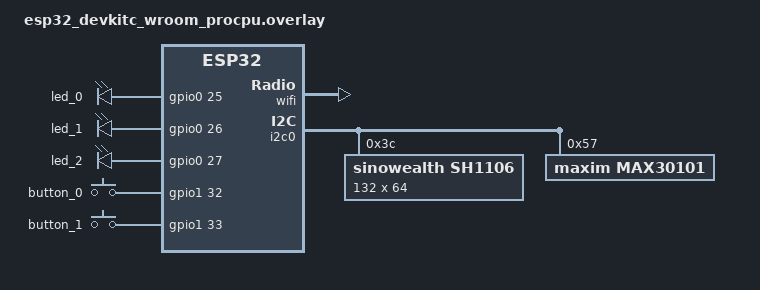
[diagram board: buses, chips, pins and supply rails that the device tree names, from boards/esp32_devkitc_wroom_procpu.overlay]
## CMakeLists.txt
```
cmake_minimum_required(VERSION 3.20.0)
find_package(Zephyr REQUIRED HINTS $ENV{ZEPHYR_BASE})

project(wifi_mesh_sensor_mqtt)

target_sources(app PRIVATE
    src/main.c
    src/zephyr_mesh.c
    src/mqtt_publisher.c
)
```

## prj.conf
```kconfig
# ESP32 Zephyr Mesh with MAX30102 Sensor and MQTT Configuration

# Wi-Fi Configuration
CONFIG_WIFI=y

# Network Configuration
CONFIG_NET_CONFIG_AUTO_INIT=n
CONFIG_NET_CONNECTION_MANAGER=y
CONFIG_NET_IF_MAX_IPV4_COUNT=2
CONFIG_NET_IF_MAX_IPV6_COUNT=2
CONFIG_NET_IPV4=y
CONFIG_NET_L2_ETHERNET=y
CONFIG_NET_L2_WIFI_MGMT=y
CONFIG_NET_MGMT=y
CONFIG_NET_MGMT_EVENT=y
CONFIG_NET_MGMT_EVENT_INFO=y
CONFIG_NET_MGMT_EVENT_QUEUE_SIZE=20
CONFIG_NET_MGMT_EVENT_STACK_SIZE=4096
CONFIG_NET_PKT_RX_COUNT=32
CONFIG_NET_PKT_TX_COUNT=32
CONFIG_NET_BUF_RX_COUNT=100
CONFIG_NET_BUF_TX_COUNT=100
CONFIG_NET_SOCKETS_SERVICE_STACK_SIZE=4096
CONFIG_NET_TCP=y
CONFIG_NET_UDP=y
CONFIG_NETWORKING=y
CONFIG_NET_SOCKETS=y
CONFIG_NET_SOCKETS_POLL_MAX=12
CONFIG_POSIX_API=y

# Memory (increased for MQTT and sensor processing)
CONFIG_KERNEL_MEM_POOL=y
CONFIG_MAIN_STACK_SIZE=11264
CONFIG_SYSTEM_WORKQUEUE_STACK_SIZE=8192

# DHCP
CONFIG_NET_DHCPV4=y
CONFIG_NET_DHCPV4_SERVER=y
CONFIG_NET_DHCPV4_SERVER_ADDR_LEASE_TIME=7200
CONFIG_NET_DHCPV4_SERVER_ADDR_COUNT=20

# MQTT Configuration (non-TLS for local broker)
CONFIG_MQTT_LIB=y
CONFIG_MQTT_KEEPALIVE=60

# LOG Configuration
CONFIG_LOG=y
CONFIG_NET_LOG=y

# GPIO and I2C
CONFIG_GPIO=y
CONFIG_I2C=y

# Display - SH1106 OLED
CONFIG_DISPLAY=y
CONFIG_SSD1306=y
CONFIG_SSD1306_DEFAULT_CONTRAST=128
CONFIG_CHARACTER_FRAMEBUFFER=y
CONFIG_CHARACTER_FRAMEBUFFER_USE_DEFAULT_FONTS=y

# MAX30102 Sensor Configuration
CONFIG_SENSOR=y
CONFIG_MAX30101=y
CONFIG_MAX30101_SPO2_MODE=y
CONFIG_MAX30101_LED1_PA=0x5a
CONFIG_MAX30101_LED2_PA=0x50
CONFIG_MAX30101_SMP_AVE=0
CONFIG_MAX30101_ADC_RGE=3
CONFIG_MAX30101_SR=3
CONFIG_MAX30101_FIFO_ROLLOVER_EN=y
CONFIG_MAX30101_FIFO_A_FULL=0

# Floating point support for sensor calculations
CONFIG_FPU=y
CONFIG_NEWLIB_LIBC=y
CONFIG_CBPRINTF_FP_SUPPORT=y

# Random number generator (for MQTT client ID)
CONFIG_ENTROPY_GENERATOR=y
CONFIG_TEST_RANDOM_GENERATOR=y

# Disable features
CONFIG_BOOT_BANNER=n
CONFIG_BT=n
```

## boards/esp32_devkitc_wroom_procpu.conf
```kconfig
CONFIG_WIFI_ESP32=y
CONFIG_ESP32_WIFI_STA_AUTO_DHCPV4=y
CONFIG_ESP32_WIFI_AP_STA_MODE=y
CONFIG_WIFI_NM=y
CONFIG_WIFI_NM_MAX_MANAGED_INTERFACES=2
```

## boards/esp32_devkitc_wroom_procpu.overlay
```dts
&wifi {
	status = "okay";
};

&i2c0 {
	sh1106: sh1106@3c {
		compatible = "sinowealth,sh1106";
		reg = <0x3c>;
		height = <64>;
		width = <132>;
		segment-offset = <0>;
		page-offset = <0>;
		display-offset = <0>;
		multiplex-ratio = <63>;
		prechargep = <0x22>;
		com-invdir;
		segment-remap;
	};
	max30101: max30101@57 {
		compatible = "maxim,max30101";
		reg = <0x57>;
	};
};

/ {
	aliases {
        led-g = &led_0;
		led-y = &led_1;
		led-r = &led_2;
		btn-top = &button_0;
		btn-bot = &button_1;
    };

	wifi_ap: wifi_ap {
		compatible = "espressif,esp32-wifi";
		status = "okay";
	};

	leds {
		compatible = "gpio-leds";
		led_0: d25 {
			gpios = <&gpio0 25 GPIO_ACTIVE_HIGH>;
		};
		led_1: d26 {
			gpios = <&gpio0 26 GPIO_ACTIVE_HIGH>;
		};
		led_2: d27 {
			gpios = <&gpio0 27 GPIO_ACTIVE_HIGH>;
		};
	};
	buttons {
		compatible = "gpio-keys";
		debounce-interval-ms = <30>;
		polling-mode;

		button_0: d32 {
			gpios = <&gpio1 32 (GPIO_ACTIVE_HIGH | GPIO_PULL_DOWN)>;
		};
		button_1: d33 {
			gpios = <&gpio1 33 (GPIO_ACTIVE_HIGH | GPIO_PULL_DOWN)>;
		};
	};
};
```

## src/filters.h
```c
/*
 * Digital Signal Processing Filters for Heart Rate and SpO2 Detection
 * Ported from Arduino MAX3010x library to Zephyr RTOS
 *
 * SPDX-License-Identifier: Apache-2.0
 */

#ifndef FILTERS_H
#define FILTERS_H

#include <math.h>
#include <stdbool.h>
#include <stdint.h>

#ifndef M_PI
#define M_PI 3.14159265358979323846
#endif

/* Float version of PI to avoid double promotion warnings */
#define M_PI_F 3.14159265f

/* ========================================================================== */
/* Min/Max/Average Statistics                                                 */
/* ========================================================================== */

struct min_max_avg_stat {
    float min;
    float max;
    float sum;
    int count;
};

static inline void stat_init(struct min_max_avg_stat *s)
{
    s->min = NAN;
    s->max = NAN;
    s->sum = 0.0f;
    s->count = 0;
}

static inline void stat_process(struct min_max_avg_stat *s, float value)
{
    if (isnan(s->min)) {
        s->min = value;
    } else if (value < s->min) {
        s->min = value;
    }
    
    if (isnan(s->max)) {
        s->max = value;
    } else if (value > s->max) {
        s->max = value;
    }
    
    s->sum += value;
    s->count++;
}

static inline void stat_reset(struct min_max_avg_stat *s)
{
    stat_init(s);
}

static inline float stat_minimum(const struct min_max_avg_stat *s)
{
    return s->min;
}

static inline float stat_maximum(const struct min_max_avg_stat *s)
{
    return s->max;
}

static inline float stat_average(const struct min_max_avg_stat *s)
{
    if (s->count == 0) {
        return NAN;
    }
    return s->sum / (float)s->count;
}

/* ========================================================================== */
/* High Pass Filter                                                           */
/* ========================================================================== */

struct high_pass_filter {
    float kx;
    float ka0;
    float ka1;
    float kb1;
    float last_filter_value;
    float last_raw_value;
};

/**
 * @brief Initialize high pass filter with time constant
 * @param f Filter structure
 * @param samples Number of samples until decay to 36.8% (RC time constant equivalent)
 */
static inline void hpf_init_samples(struct high_pass_filter *f, float samples)
{
    f->kx = expf(-1.0f / samples);
    f->ka0 = (1.0f + f->kx) / 2.0f;
    f->ka1 = -f->ka0;
    f->kb1 = f->kx;
    f->last_filter_value = NAN;
    f->last_raw_value = NAN;
}

/**
 * @brief Initialize high pass filter with cutoff frequency
 * @param f Filter structure
 * @param cutoff Cutoff frequency in Hz
 * @param sampling_freq Sampling frequency in Hz
 */
static inline void hpf_init(struct high_pass_filter *f, float cutoff, float sampling_freq)
{
    hpf_init_samples(f, sampling_freq / (cutoff * 2.0f * M_PI_F));
}

/**
 * @brief Process a sample through the high pass filter
 * @param f Filter structure
 * @param value Input sample
 * @return Filtered output
 */
static inline float hpf_process(struct high_pass_filter *f, float value)
{
    if (isnan(f->last_filter_value) || isnan(f->last_raw_value)) {
        f->last_filter_value = 0.0f;
    } else {
        f->last_filter_value = f->ka0 * value 
                             + f->ka1 * f->last_raw_value 
                             + f->kb1 * f->last_filter_value;
    }
    
    f->last_raw_value = value;
    return f->last_filter_value;
}

static inline void hpf_reset(struct high_pass_filter *f)
{
    f->last_raw_value = NAN;
    f->last_filter_value = NAN;
}

/* ========================================================================== */
/* Low Pass Filter                                                            */
/* ========================================================================== */

struct low_pass_filter {
    float kx;
    float ka0;
    float kb1;
    float last_value;
};

/**
 * @brief Initialize low pass filter with time constant
 * @param f Filter structure
 * @param samples Number of samples until decay to 36.8% (RC time constant equivalent)
 */
static inline void lpf_init_samples(struct low_pass_filter *f, float samples)
{
    f->kx = expf(-1.0f / samples);
    f->ka0 = 1.0f - f->kx;
    f->kb1 = f->kx;
    f->last_value = NAN;
}

/**
 * @brief Initialize low pass filter with cutoff frequency
 * @param f Filter structure
 * @param cutoff Cutoff frequency in Hz
 * @param sampling_freq Sampling frequency in Hz
 */
static inline void lpf_init(struct low_pass_filter *f, float cutoff, float sampling_freq)
{
    lpf_init_samples(f, sampling_freq / (cutoff * 2.0f * M_PI_F));
}

/**
 * @brief Process a sample through the low pass filter
 * @param f Filter structure
 * @param value Input sample
 * @return Filtered output
 */
static inline float lpf_process(struct low_pass_filter *f, float value)
{
    if (isnan(f->last_value)) {
        f->last_value = value;
    } else {
        f->last_value = f->ka0 * value + f->kb1 * f->last_value;
    }
    return f->last_value;
}

static inline void lpf_reset(struct low_pass_filter *f)
{
    f->last_value = NAN;
}

/* ========================================================================== */
/* Differentiator                                                             */
/* ========================================================================== */

struct differentiator {
    float sampling_freq;
    float last_value;
};

static inline void diff_init(struct differentiator *d, float sampling_freq)
{
    d->sampling_freq = sampling_freq;
    d->last_value = NAN;
}

/**
 * @brief Process a sample through the differentiator
 * @param d Differentiator structure
 * @param value Input sample
 * @return Differentiated output (derivative * sampling_freq)
 */
static inline float diff_process(struct differentiator *d, float value)
{
    float diff = (value - d->last_value) * d->sampling_freq;
    d->last_value = value;
    return diff;
}

static inline void diff_reset(struct differentiator *d)
{
    d->last_value = NAN;
}

/* ========================================================================== */
/* Moving Average Filter                                                      */
/* ========================================================================== */

#define MOVING_AVG_MAX_SIZE 16

struct moving_avg_filter {
    int buffer_size;
    int index;
    int count;
    float values[MOVING_AVG_MAX_SIZE];
};

static inline void mavg_init(struct moving_avg_filter *f, int buffer_size)
{
    f->buffer_size = (buffer_size > MOVING_AVG_MAX_SIZE) ? MOVING_AVG_MAX_SIZE : buffer_size;
    f->index = 0;
    f->count = 0;
}

/**
 * @brief Process a sample through the moving average filter
 * @param f Filter structure
 * @param value Input sample
 * @return Moving average output
 */
static inline float mavg_process(struct moving_avg_filter *f, float value)
{
    f->values[f->index] = value;
    f->index = (f->index + 1) % f->buffer_size;
    
    if (f->count < f->buffer_size) {
        f->count++;
    }
    
    float sum = 0.0f;
    for (int i = 0; i < f->count; i++) {
        sum += f->values[i];
    }
    
    return sum / (float)f->count;
}

static inline void mavg_reset(struct moving_avg_filter *f)
{
    f->index = 0;
    f->count = 0;
}

static inline int mavg_count(const struct moving_avg_filter *f)
{
    return f->count;
}

#endif /* FILTERS_H */
```

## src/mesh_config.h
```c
#ifndef MESH_CONFIG_H
#define MESH_CONFIG_H

#include <zephyr/kernel.h>
#include <zephyr/net/socket.h>

//==================================================================================
// ---  Mesh Node Configuration ---
//==================================================================================
// !! IMPORTANT !!
// !! Set this ID for each node before flashing. This defines the mesh topology. !!
#define NODE_ID 1
//==================================================================================

//==================================================================================
// ---  MQTT Broker Configuration (for Root Node) ---
//==================================================================================
// !! Set this to your PC's IP address on the WiFi network !!
#define CONFIG_MQTT_BROKER_HOSTNAME "192.168.2.100"
#define CONFIG_MQTT_BROKER_PORT     1883
#define CONFIG_MQTT_PUB_TOPIC       "mesh/sensor/data"
//==================================================================================

#define STR_HELPER(x) #x
#define STR(x) STR_HELPER(x)

// --- Wi-Fi AP Mode Configuration ---
#define WIFI_AP_PSK         "" // "" for an open network.
#define WIFI_AP_IP_ADDRESS  "192.168."STR(NODE_ID)".1"
#define WIFI_AP_NETMASK     "255.255.255.0"
#define WIFI_AP_BROADCAST_ADDRESS "192.168."STR(NODE_ID)".255"


// --- Wi-Fi STA Mode Configuration (for the root node) ---
#define ROUTER_SSID  "RESE"      // <<<<<<< REPLACE WITH WIFI SSID
#define ROUTER_PSK   "enerconn"  // <<<<<<< REPLACE WITH WIFI PASSWORD

// --- Mesh Logic Configuration ---
#define RETRY_DELAY_S 5
#define MESH_PORT 8080
#define MAX_CHILD_NODES 5
#define PACKET_TTL_MAX 10
#define MAX_ROUTING_ENTRIES 20

// --- Clock Synchronization Configuration ---
#define CLOCK_SYNC_RETRY_MS     1000    // Retry sync every 1 second if not synced
#define CLOCK_SYNC_TIMEOUT_MS   500     // Timeout waiting for sync response

// --- Shared Data Structures ---

typedef struct {
    int node_id;
    int parent_id;
} mesh_topology_t;

// Packet types for mesh communication
typedef enum {
    MESH_PACKET_DATA = 0,       // Normal data packet
    MESH_PACKET_CLOCK_REQ = 1,  // Clock sync request (child -> parent)
    MESH_PACKET_CLOCK_RESP = 2, // Clock sync response (parent -> child)
    MESH_PACKET_REGISTER = 3,   // Registration request (child -> parent)
    MESH_PACKET_REGISTER_ACK = 4, // Registration acknowledgment (parent -> child)
    MESH_PACKET_SENSOR_DATA = 5,  // Sensor data packet (node -> root)
} mesh_packet_type_t;

// Sensor data structure for SpO2/HR readings
typedef struct {
    uint8_t node_id;        // Source node ID
    uint8_t heart_rate_bpm; // Heart rate in BPM (0-255)
    uint8_t spo2_integer;   // SpO2 integer part (0-100)
    uint8_t spo2_decimal;   // SpO2 decimal part (0-9, for one decimal place)
    int64_t timestamp_ms;   // Mesh timestamp when reading was taken
} sensor_reading_t;

struct mesh_packet {
    uint8_t type;       // mesh_packet_type_t
    uint8_t target_id;
    uint8_t source_id;
    uint8_t ttl;
    union {
        char payload[128];              // For DATA packets
        struct {
            int64_t mesh_time_ms;       // Mesh time in milliseconds
            int64_t request_time_ms;    // Original request time (for RTT calculation)
        } clock_sync;                   // For CLOCK_REQ and CLOCK_RESP packets
        struct {
            uint8_t node_id;            // Registering node's ID
            int64_t mesh_time_ms;       // For REGISTER_ACK: current mesh time
        } registration;                 // For REGISTER and REGISTER_ACK packets
        sensor_reading_t sensor;        // For SENSOR_DATA packets
    };
};

// Routing table entry
typedef struct {
    uint8_t dest_node_id;      // Destination node
    uint8_t next_hop_node_id;  // Next hop (parent or child)
    bool is_via_parent;        // true = forward to parent, false = forward to child
} route_entry_t;

// Child node tracking
typedef struct {
    uint8_t node_id;
    struct in_addr ip_addr;
    bool is_active;
} child_node_t;

#endif // MESH_CONFIG_H
```

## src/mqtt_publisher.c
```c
/*
 * MQTT Publisher for Mesh Root Node
 * Publishes sensor data received from mesh child nodes to MQTT broker
 */

#include <zephyr/kernel.h>
#include <zephyr/logging/log.h>
#include <zephyr/net/socket.h>
#include <zephyr/net/mqtt.h>
#include <zephyr/random/random.h>
#include <stdio.h>
#include <string.h>

#include "mqtt_publisher.h"

LOG_MODULE_REGISTER(mqtt_publisher, LOG_LEVEL_INF);

/* MQTT Broker Configuration - Update these for your setup */
#ifndef CONFIG_MQTT_BROKER_HOSTNAME
#define CONFIG_MQTT_BROKER_HOSTNAME "192.168.2.100"  /* Your PC's IP address */
#endif

#ifndef CONFIG_MQTT_BROKER_PORT
#define CONFIG_MQTT_BROKER_PORT 1883
#endif

#ifndef CONFIG_MQTT_PUB_TOPIC
#define CONFIG_MQTT_PUB_TOPIC "mesh/sensor/data"
#endif

/* Buffer sizes */
#define MQTT_RX_BUFFER_SIZE     256
#define MQTT_TX_BUFFER_SIZE     256
#define MQTT_PAYLOAD_BUFFER_SIZE 256

/* MQTT client instance */
static struct mqtt_client client;

/* Buffers for MQTT */
static uint8_t rx_buffer[MQTT_RX_BUFFER_SIZE];
static uint8_t tx_buffer[MQTT_TX_BUFFER_SIZE];
static uint8_t payload_buffer[MQTT_PAYLOAD_BUFFER_SIZE];

/* Broker address storage */
static struct sockaddr_storage broker_addr;

/* Socket poll descriptor */
static struct zsock_pollfd fds[1];
static int nfds;

/* Connection state */
static bool mqtt_connected = false;

/* Client ID buffer */
static char client_id[32];

/* Message ID counter */
static uint16_t msg_id_counter = 1;

/* ========================================================================== */
/* Internal Helper Functions                                                  */
/* ========================================================================== */

static void prepare_fds(void)
{
    fds[0].fd = client.transport.tcp.sock;
    fds[0].events = ZSOCK_POLLIN;
    nfds = 1;
}

static void clear_fds(void)
{
    nfds = 0;
}

static int poll_mqtt_socket(int timeout_ms)
{
    if (nfds <= 0) {
        return -EINVAL;
    }

    int rc = zsock_poll(fds, nfds, timeout_ms);
    if (rc < 0) {
        LOG_ERR("Socket poll error: %d", errno);
        return -errno;
    }
    return rc;
}

/* ========================================================================== */
/* MQTT Event Handler                                                         */
/* ========================================================================== */

static void mqtt_event_handler(struct mqtt_client *const cli,
                               const struct mqtt_evt *evt)
{
    switch (evt->type) {
    case MQTT_EVT_CONNACK:
        if (evt->result != 0) {
            LOG_ERR("MQTT CONNACK error: %d", evt->result);
            mqtt_connected = false;
        } else {
            LOG_INF("MQTT Connected to broker!");
            mqtt_connected = true;
        }
        break;

    case MQTT_EVT_DISCONNECT:
        LOG_INF("MQTT Disconnected");
        mqtt_connected = false;
        clear_fds();
        break;

    case MQTT_EVT_PINGRESP:
        LOG_DBG("MQTT PINGRESP received");
        break;

    case MQTT_EVT_PUBACK:
        if (evt->result != 0) {
            LOG_ERR("MQTT PUBACK error: %d", evt->result);
        } else {
            LOG_DBG("MQTT PUBACK for msg ID: %u", evt->param.puback.message_id);
        }
        break;

    default:
        LOG_DBG("MQTT event type: %d", evt->type);
        break;
    }
}

/* ========================================================================== */
/* Public API Functions                                                       */
/* ========================================================================== */

int mqtt_publisher_init(void)
{
    struct sockaddr_in *broker4 = (struct sockaddr_in *)&broker_addr;
    int rc;

    LOG_INF("Initializing MQTT publisher...");
    LOG_INF("Broker: %s:%d", CONFIG_MQTT_BROKER_HOSTNAME, CONFIG_MQTT_BROKER_PORT);
    LOG_INF("Topic: %s", CONFIG_MQTT_PUB_TOPIC);

    /* Resolve broker address */
    memset(&broker_addr, 0, sizeof(broker_addr));
    broker4->sin_family = AF_INET;
    broker4->sin_port = htons(CONFIG_MQTT_BROKER_PORT);
    
    rc = inet_pton(AF_INET, CONFIG_MQTT_BROKER_HOSTNAME, &broker4->sin_addr);
    if (rc != 1) {
        LOG_ERR("Invalid broker IP address: %s", CONFIG_MQTT_BROKER_HOSTNAME);
        return -EINVAL;
    }

    /* Generate unique client ID */
    snprintf(client_id, sizeof(client_id), "esp32_mesh_root_%04x", 
             (uint16_t)sys_rand32_get());
    LOG_INF("MQTT Client ID: %s", client_id);

    /* Initialize MQTT client */
    mqtt_client_init(&client);

    client.broker = &broker_addr;
    client.evt_cb = mqtt_event_handler;
    client.client_id.utf8 = (uint8_t *)client_id;
    client.client_id.size = strlen(client_id);
    client.password = NULL;
    client.user_name = NULL;
    client.protocol_version = MQTT_VERSION_3_1_1;

    /* Configure buffers */
    client.rx_buf = rx_buffer;
    client.rx_buf_size = sizeof(rx_buffer);
    client.tx_buf = tx_buffer;
    client.tx_buf_size = sizeof(tx_buffer);

    /* Use non-secure transport */
    client.transport.type = MQTT_TRANSPORT_NON_SECURE;

    LOG_INF("MQTT publisher initialized");
    return 0;
}

int mqtt_publisher_connect(void)
{
    int rc;
    int64_t start_time;

    if (mqtt_connected) {
        LOG_WRN("Already connected to MQTT broker");
        return 0;
    }

    LOG_INF("Connecting to MQTT broker...");

    rc = mqtt_connect(&client);
    if (rc != 0) {
        LOG_ERR("mqtt_connect failed: %d", rc);
        return rc;
    }

    prepare_fds();

    /* Wait for CONNACK with timeout */
    start_time = k_uptime_get();
    while (!mqtt_connected) {
        rc = poll_mqtt_socket(MQTT_POLL_TIMEOUT_MS);
        if (rc > 0) {
            mqtt_input(&client);
        }

        if (k_uptime_get() - start_time > MQTT_CONNECT_TIMEOUT_MS) {
            LOG_ERR("MQTT connection timeout");
            mqtt_abort(&client);
            return -ETIMEDOUT;
        }
    }

    LOG_INF("MQTT connection established");
    return 0;
}

int mqtt_publisher_process(void)
{
    int rc;

    if (!mqtt_connected) {
        return -ENOTCONN;
    }

    rc = poll_mqtt_socket(mqtt_keepalive_time_left(&client));
    if (rc > 0) {
        if (fds[0].revents & ZSOCK_POLLIN) {
            rc = mqtt_input(&client);
            if (rc != 0) {
                LOG_ERR("mqtt_input error: %d", rc);
                return rc;
            }
        }
        if (fds[0].revents & (ZSOCK_POLLHUP | ZSOCK_POLLERR)) {
            LOG_ERR("MQTT socket error/closed");
            mqtt_connected = false;
            return -ENOTCONN;
        }
    } else if (rc == 0) {
        /* Poll timeout - send keepalive */
        rc = mqtt_live(&client);
        if (rc != 0) {
            LOG_ERR("mqtt_live error: %d", rc);
            return rc;
        }
    }

    return 0;
}

int mqtt_publisher_send_sensor_data(uint8_t node_id, uint8_t heart_rate, float spo2)
{
    int rc;
    struct mqtt_publish_param param;
    int payload_len;

    if (!mqtt_connected) {
        LOG_WRN("MQTT not connected, cannot publish");
        return -ENOTCONN;
    }

    /* Format JSON payload */
    payload_len = snprintf((char *)payload_buffer, sizeof(payload_buffer),
                           "{\"node_id\":%d,\"heart_rate\":%d,\"spo2\":%.1f}",
                           node_id, heart_rate, (double)spo2);

    if (payload_len < 0 || payload_len >= sizeof(payload_buffer)) {
        LOG_ERR("Payload formatting error");
        return -ENOMEM;
    }

    /* Configure publish parameters */
    param.message.topic.topic.utf8 = (uint8_t *)CONFIG_MQTT_PUB_TOPIC;
    param.message.topic.topic.size = strlen(CONFIG_MQTT_PUB_TOPIC);
    param.message.topic.qos = MQTT_QOS_1_AT_LEAST_ONCE;
    param.message.payload.data = payload_buffer;
    param.message.payload.len = payload_len;
    param.message_id = msg_id_counter++;
    param.dup_flag = 0;
    param.retain_flag = 0;

    LOG_INF("Publishing: %s", payload_buffer);

    rc = mqtt_publish(&client, &param);
    if (rc != 0) {
        LOG_ERR("mqtt_publish failed: %d", rc);
        return rc;
    }

    LOG_INF("Published sensor data from Node %d (msg_id=%d)", 
            node_id, param.message_id);
    return 0;
}

bool mqtt_publisher_is_connected(void)
{
    return mqtt_connected;
}

void mqtt_publisher_disconnect(void)
{
    if (mqtt_connected) {
        mqtt_disconnect(&client);
        mqtt_connected = false;
        clear_fds();
        LOG_INF("MQTT disconnected");
    }
}
```

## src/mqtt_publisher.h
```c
/*
 * MQTT Publisher for Mesh Root Node
 * Publishes sensor data received from mesh child nodes to MQTT broker
 */

#ifndef MQTT_PUBLISHER_H
#define MQTT_PUBLISHER_H

#include <zephyr/kernel.h>
#include <stdbool.h>

/* MQTT connection timeout in milliseconds */
#define MQTT_CONNECT_TIMEOUT_MS     5000
#define MQTT_POLL_TIMEOUT_MS        500
#define MQTT_RECONNECT_DELAY_MS     5000

/**
 * @brief Initialize the MQTT publisher module
 * 
 * Sets up the MQTT client and prepares for connection.
 * Must be called after WiFi is connected.
 * 
 * @return 0 on success, negative error code on failure
 */
int mqtt_publisher_init(void);

/**
 * @brief Connect to the MQTT broker
 * 
 * Blocks until connected or timeout.
 * 
 * @return 0 on success, negative error code on failure
 */
int mqtt_publisher_connect(void);

/**
 * @brief Process MQTT events (call periodically)
 * 
 * Handles incoming messages and keepalive.
 * Should be called in a loop or from a thread.
 * 
 * @return 0 on success, negative error code on failure
 */
int mqtt_publisher_process(void);

/**
 * @brief Publish sensor data to MQTT broker
 * 
 * @param node_id Node ID that collected the data
 * @param heart_rate Heart rate in BPM
 * @param spo2 SpO2 percentage (e.g., 98.5)
 * @return 0 on success, negative error code on failure
 */
int mqtt_publisher_send_sensor_data(uint8_t node_id, uint8_t heart_rate, float spo2);

/**
 * @brief Check if MQTT client is connected
 * 
 * @return true if connected, false otherwise
 */
bool mqtt_publisher_is_connected(void);

/**
 * @brief Disconnect from MQTT broker
 */
void mqtt_publisher_disconnect(void);

#endif /* MQTT_PUBLISHER_H */
```

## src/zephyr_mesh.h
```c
#ifndef ZEPHYR_MESH_H
#define ZEPHYR_MESH_H

#include "mesh_config.h"

/**
 * @brief Initialize the Zephyr Mesh module.
 *
 * This starts the server thread to listen for incoming packets
 * and initializes the Wi-Fi event handlers.
 */
void zephyr_mesh_init(void);

/**
 * @brief Configure and start the Wi-Fi and networking process.
 *
 * This will configure the node based on its ID and the map,
 * build the routing table, then start the scan/connect process.
 *
 * @param map       Pointer to the mesh topology map.
 * @param map_size  Number of entries in the map.
 */
void zephyr_mesh_start(const mesh_topology_t *map, int map_size);

/**
 * @brief Send a data packet through the mesh network.
 *
 * This function sends a packet to any node in the mesh using the
 * routing table to determine the correct next hop (parent or child).
 *
 * @param target    The destination NODE_ID.
 * @param payload   A null-terminated string to send.
 * @return 0 on success, negative error code on failure.
 */
int zephyr_mesh_send_packet(uint8_t target, const char *payload);

/**
 * @brief Send a data packet directly to a connected child node.
 *
 * This function is for nodes that have an Access Point (AP) running
 * and want to send directly to one of their children.
 *
 * @param target    The destination child NODE_ID.
 * @param payload   A null-terminated string to send.
 * @return 0 on success, negative error code on failure.
 */
int zephyr_mesh_send_to_child(uint8_t target, const char *payload);

/**
 * @brief Check if this node is configured as the root.
 * @return true if this is the root node, false otherwise.
 */
bool zephyr_mesh_is_root(void);

/**
 * @brief Check if the node is currently connected to its parent.
 * @return true if connected, false otherwise.
 */
bool zephyr_mesh_is_connected(void);

/**
 * @brief Check if the node received any message since last check.
 * This function clears the flag after reading.
 * @return true if received, false otherwise.
 */
bool zephyr_mesh_received_a_message(void);

/**
 * @brief Get the synchronized mesh time in milliseconds.
 *
 * For the root node, this returns the uptime since boot.
 * For child nodes, this returns the local time adjusted by
 * the clock offset calculated during synchronization.
 *
 * @return Synchronized mesh time in milliseconds.
 */
int64_t zephyr_mesh_get_time_ms(void);

/**
 * @brief Check if the node's clock is synchronized with the mesh.
 *
 * The root node is always considered synchronized.
 * Child nodes are synchronized after receiving a clock response
 * from their parent.
 *
 * @return true if synchronized, false otherwise.
 */
bool zephyr_mesh_is_clock_synced(void);

/**
 * @brief Check if the node is registered with its parent.
 *
 * The root node is always considered registered.
 * Child nodes are registered after receiving a registration ACK
 * from their parent.
 *
 * @return true if registered, false otherwise.
 */
bool zephyr_mesh_is_registered(void);

/**
 * @brief Send sensor data to the root node.
 *
 * This function sends a sensor reading packet to the root node (Node 1).
 * The packet will be routed through the mesh network to reach the root.
 *
 * @param heart_rate_bpm Heart rate in BPM
 * @param spo2 SpO2 percentage (e.g., 98.5)
 * @return 0 on success, negative error code on failure.
 */
int zephyr_mesh_send_sensor_data(uint8_t heart_rate_bpm, float spo2);

/**
 * @brief Callback type for receiving sensor data at root node.
 *
 * @param reading Pointer to the received sensor reading
 */
typedef void (*sensor_data_callback_t)(const sensor_reading_t *reading);

/**
 * @brief Register a callback for receiving sensor data.
 *
 * Only meaningful for the root node. When sensor data packets
 * arrive at the root, this callback will be invoked.
 *
 * @param callback Function to call when sensor data is received
 */
void zephyr_mesh_set_sensor_callback(sensor_data_callback_t callback);

#endif // ZEPHYR_MESH_H
```
